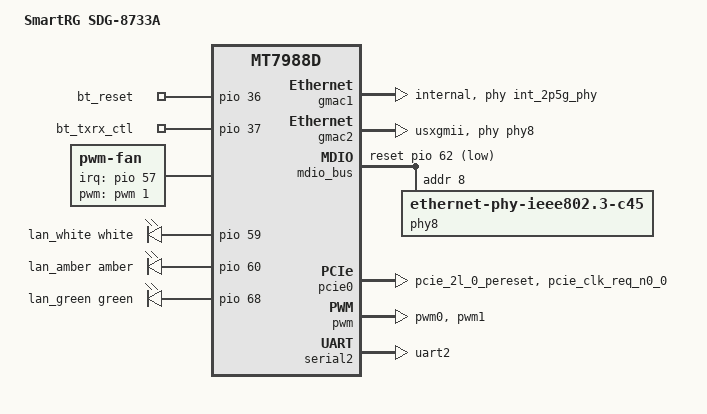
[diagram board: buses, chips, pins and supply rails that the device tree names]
// SPDX-License-Identifier: (GPL-2.0 OR MIT)
/*
 * Copyright (C) 2024 SmartRG Inc.
 * Author: Chad Monroe <chad.monroe@smartrg.com>
 */

#include "mt7988-smartrg-base.dtsi"
#include "mt7988-smartrg-sysled.dtsi"
#include "mt7988-smartrg-wifi-pcie3.dtsi"
#include "mt7988-smartrg-wifi-mt7995.dtsi"

/ {
	model = "SmartRG SDG-8733A";
	compatible = "smartrg,sdg-8733a", "mediatek,mt7988d";

	aliases {
		label-mac-device = &gmac2;
	};

	cpus {
		/delete-node/ cpu@3;
	};

	gpio-keys {
		button-sync {
			label = "sync";
			linux,code = <KEY_WPS_BUTTON>;
			gpios = <&pio 14 GPIO_ACTIVE_LOW>;
		};
	};

	gpio_export: gpio-export {
		compatible = "gpio-export";

		bluetooth_reset: bluetooth-reset {
			gpio-export,name = "bt_reset";
			gpio-export,direction_may_change;
			gpios = <&pio 36 GPIO_ACTIVE_HIGH>;
		};

		bluetooth_txrx_ctl: bluetooth-txrx-ctl {
			gpio-export,name = "bt_txrx_ctl";
			gpio-export,direction_may_change;
			gpios = <&pio 37 GPIO_ACTIVE_HIGH>;
		};
	};

	fan: pwm-fan {
		compatible = "pwm-fan";
		#cooling-cells = <2>;
		#thermal-sensor-cells = <1>;

		pwms = <&pwm 1 40000 0>;

		/**
		 * set fan speed
		 *
		 * 0 = off
		 * 61 = 24% duty cycle
		 * 77 = 30% duty cycle
		 * 102 = 40% duty cycle
		 * 128 - 50% duty cycle
		 * 255 = 100% duty cycle
		 */
		cooling-levels = <61 77 102 128>;

		interrupt-parent = <&pio>;
		interrupts = <57 IRQ_TYPE_EDGE_FALLING>;
		pulses-per-revolution = <2>;

		status = "okay";
	};

	leds: gpio-leds {
		compatible = "gpio-leds";

		lan_white {
			color = <LED_COLOR_ID_WHITE>;
			function = "lan";
			gpios = <&pio 59 GPIO_ACTIVE_HIGH>;
		};

		lan_amber {
			color = <LED_COLOR_ID_AMBER>;
			function = "lan";
			gpios = <&pio 60 GPIO_ACTIVE_HIGH>;
		};

		lan_green {
			color = <LED_COLOR_ID_GREEN>;
			function = "lan";
			gpios = <&pio 68 GPIO_ACTIVE_HIGH>;
		};
	};

	thermal-zones {
		cpu_thermal: cpu-thermal {
			thermal-sensors = <&lvts 0>;
			SDG_1FAN_THERMAL_MAP(cpu_thermal, &fan,
					     125000, 120000,
					     110000, 80000,
					     60000, 40000);
		};

		aqr_wan_thermal: aqr-wan-thermal {
			thermal-sensors = <&phy8>;
			SDG_1FAN_THERMAL_MAP(aqr_wan_thermal, &fan,
					     108000, 104000,
					     100000, 90000,
					     80000, 40000);
		};
	};
};

&button_pins {
	pins = "GPIO_RESET", "GPIO_WPS";
};

&gmac0 {
	status = "disabled";
};

&gmac1 {
	nvmem-cells = <&macaddr 0x1>;
	nvmem-cell-names = "mac-address";
	label = "lan";
	phy-mode = "internal";
	phy = <&int_2p5g_phy>;

	status = "okay";
};

&gmac2 {
	nvmem-cells = <&macaddr 0x0>;
	nvmem-cell-names = "mac-address";
	label = "wan";
	phy-mode = "usxgmii";
	managed = "in-band-status";
	phy = <&phy8>;

	status = "okay";
};

&mdio_bus {
	reset-gpios = <&pio 62 GPIO_ACTIVE_LOW>;
	reset-delay-us = <100000>;
	reset-post-delay-us = <1000000>;

	phy8: ethernet-phy@8 {
		/* AQR113C */
		compatible = "ethernet-phy-ieee802.3-c45";
		reg = <8>;
		#thermal-sensor-cells = <0>;

		marvell,mdi-cfg-order = <0>;

		leds {
			#address-cells = <1>;
			#size-cells = <0>;

			led@0 {
				reg = <0>;
				function = LED_FUNCTION_WAN;
				color = <LED_COLOR_ID_GREEN>;
			};

			led@1 {
				reg = <1>;
				function = LED_FUNCTION_WAN;
				color = <LED_COLOR_ID_ORANGE>;
			};

			led@2 {
				reg = <2>;
				function = LED_FUNCTION_WAN;
				color = <LED_COLOR_ID_WHITE>;
				active-high;
			};
		};
	};
};

&pcie0 {
	pinctrl-names = "default";
	pinctrl-0 = <&pcie0_1_pins>;
};

&pio {
	pcie0_1_pins: pcie0-pins-g1 {
		mux {
			function = "pcie";
			groups = "pcie_2l_0_pereset", "pcie_clk_req_n0_0";
		};
	};

	pwm_pins: pwm-pins {
		mux {
			function = "pwm";
			groups = "pwm0", "pwm1";
		};
	};

	uart2_pins: uart2-pins {
		mux {
			function = "uart";
			groups = "uart2";
		};
	};
};

&pwm {
	pinctrl-names = "default";
	pinctrl-0 = <&pwm_pins>;
	status = "okay";
};

&serial2 {
	pinctrl-names = "default";
	pinctrl-0 = <&uart2_pins>;
	status = "okay";

	/* DA14531MOD Bluetooth */
};

&switch {
	status = "disabled";
};
